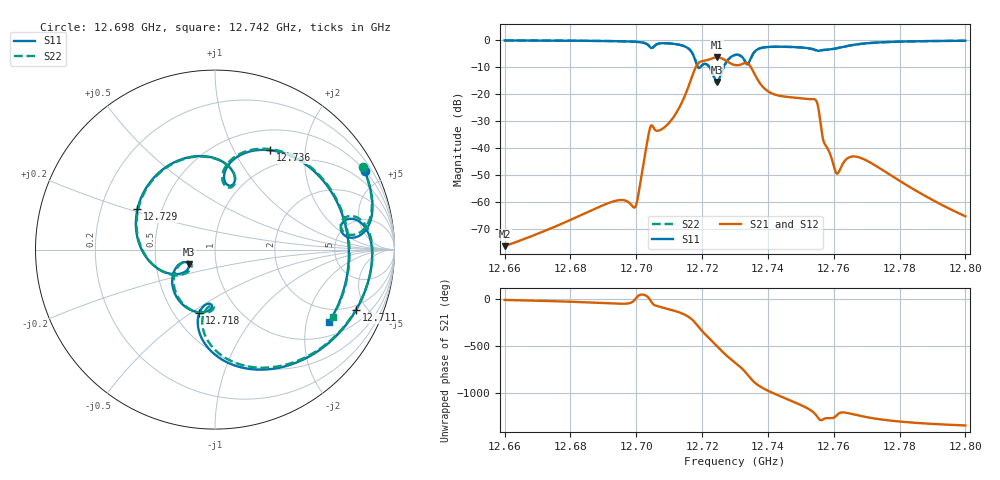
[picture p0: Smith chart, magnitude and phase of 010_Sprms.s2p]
! TOUCHSTONE file generated by CST MICROWAVE STUDIO
! Date and time: Wed Jul 31 11:05:41 2024
! Project name: WaveGuide_BPF-Ver4.1_U-shape_Ku_T3_C4_CWA_2.cst
! Parameters = {cavity_h=16; cavity_l0=10; cavity_l1=15.1724; cavity_l2=16.8158; cavity_l3=17.0746; cavity_l4=17.309; cavity_l5=17.1569; cavity_l6=17.57; cavity_r=2.5; cavity_screw_l=0.5; cavity_screw_r=1.5; cavity_w=8; iris_h00=0; iris_h01=8.811; iris_h112=0; iris_h12=5.594; iris_h211=3.6688; iris_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
! Header version: 2018
! Port assignment regex: !\s*Touchstone port\s*([0-9]+)\s*=\s*(CST MWS port|CST DS port)\s*([0-9]+|Zmin|Zmax)\s*\(\"(.*)\"\)(\s*mode\s*([0-9]+))?.*
! Touchstone port assignment:
! Touchstone port 1 = CST MWS port 1 ("")
! Touchstone port 2 = CST MWS port 2 ("")
# GHz S RI R 50
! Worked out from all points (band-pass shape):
!   5001 points, 12.66 GHz to 12.8 GHz, reference 50 ohm
!   highest |S21| = -6.40 dB at 12.725 GHz (marker M1); lowest = -76.4 dB at 12.66 GHz (marker M2)
!   |S21| within 3 dB of the highest: 12.71835 GHz to 12.7345 GHz (16.15 MHz wide, 0.127 % of centre)
!   lowest |S11| = -15.5 dB at 12.725 GHz (marker M3), VSWR 1.40, Z = 36.7 - j6.12 ohm
!   |S11| at or under -10 dB: 12.7187 GHz to 12.71952 GHz (819.4 kHz wide, 0.00644 % of centre); 12.72226 GHz to 12.72653 GHz (4.274 MHz wide, 0.0336 % of centre)
!   |S22| runs from -16.2 to -0.1 dB; largest |S21 - S12| = 1e-09
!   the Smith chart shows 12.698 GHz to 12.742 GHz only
!   S11 on the Smith chart (normalised r, x): 12.698 GHz: 0.51, +3.98; 12.711 GHz: 1.68, -4.22; 12.718 GHz: 0.66, -0.54; 12.729 GHz: 0.36, +0.22; 12.736 GHz: 0.76, +1.41; 12.742 GHz: 1.47, -2.74
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12.66  0.2037 0.9636  0.000146 -4e-05  0.000146 -4e-05  0.1982 0.9649
12.68335  0.547 0.8032  0.000451 -0.000358  0.000451 -0.000358  0.5382 0.8097
12.69786  0.8333 0.44  0.00062 -0.000744  0.00062 -0.000744  0.8251 0.4577
12.70427  0.726 0.0764  0.0232 -0.00734  0.0232 -0.00734  0.7387 0.0855
12.70668  0.8521 0.0965  0.00237 -0.0208  0.00237 -0.0208  0.8459 0.1249
12.71116  0.7856 -0.3374  -0.0212 -0.0292  -0.0212 -0.0292  0.8013 -0.3052
12.71827  -0.0883 -0.3551  0.0176 0.3315  0.0176 0.3315  -0.0671 -0.3703
12.7209  -0.124 -0.3411  0.3949 -0.1319  0.3949 -0.1319  -0.1134 -0.3445
12.72457  -0.1472 -0.0809  -0.4054 -0.2545  -0.4054 -0.2545  -0.1337 -0.0789
12.7246  -0.1466 -0.0821  -0.4099 -0.2472  -0.4099 -0.2472  -0.133 -0.0802
12.72877  -0.4318 0.2264  0.1031 0.3528  0.1031 0.3528  -0.4289 0.2208
12.73  -0.3088 0.4319  0.268 0.2176  0.268 0.2176  -0.306 0.4294
12.73356  0.093 0.3581  0.0712 -0.3699  0.0712 -0.3699  0.0913 0.3477
12.73624  0.3066 0.5537  -0.2168 0.00446  -0.2168 0.00446  0.2907 0.5613
12.7424  0.6362 -0.4024  0.0461 0.085  0.0461 0.085  0.6547 -0.3754
12.74764  -0.2276 -0.7091  0.0829 -0.0237  0.0829 -0.0237  -0.1958 -0.7169
12.75335  -0.6424 0.2469  -0.0354 -0.0724  -0.0354 -0.0724  -0.6457 0.2311
12.7575  0.1276 0.6463  -0.011 0.00261  -0.011 0.00261  0.1135 0.6508
12.76186  0.719 -0.1041  -0.00285 -0.00277  -0.00285 -0.00277  0.7241 -0.0779
12.76772  0.1497 -0.8308  -0.00649 -0.00169  -0.00649 -0.00169  0.1799 -0.8237
12.77668  -0.62 -0.6845  -0.0027 0.00194  -0.0027 0.00194  -0.6018 -0.699
12.8  -0.9711 0.0663  -3.19e-06 0.000542  -3.19e-06 0.000542  -0.9714 0.0561
